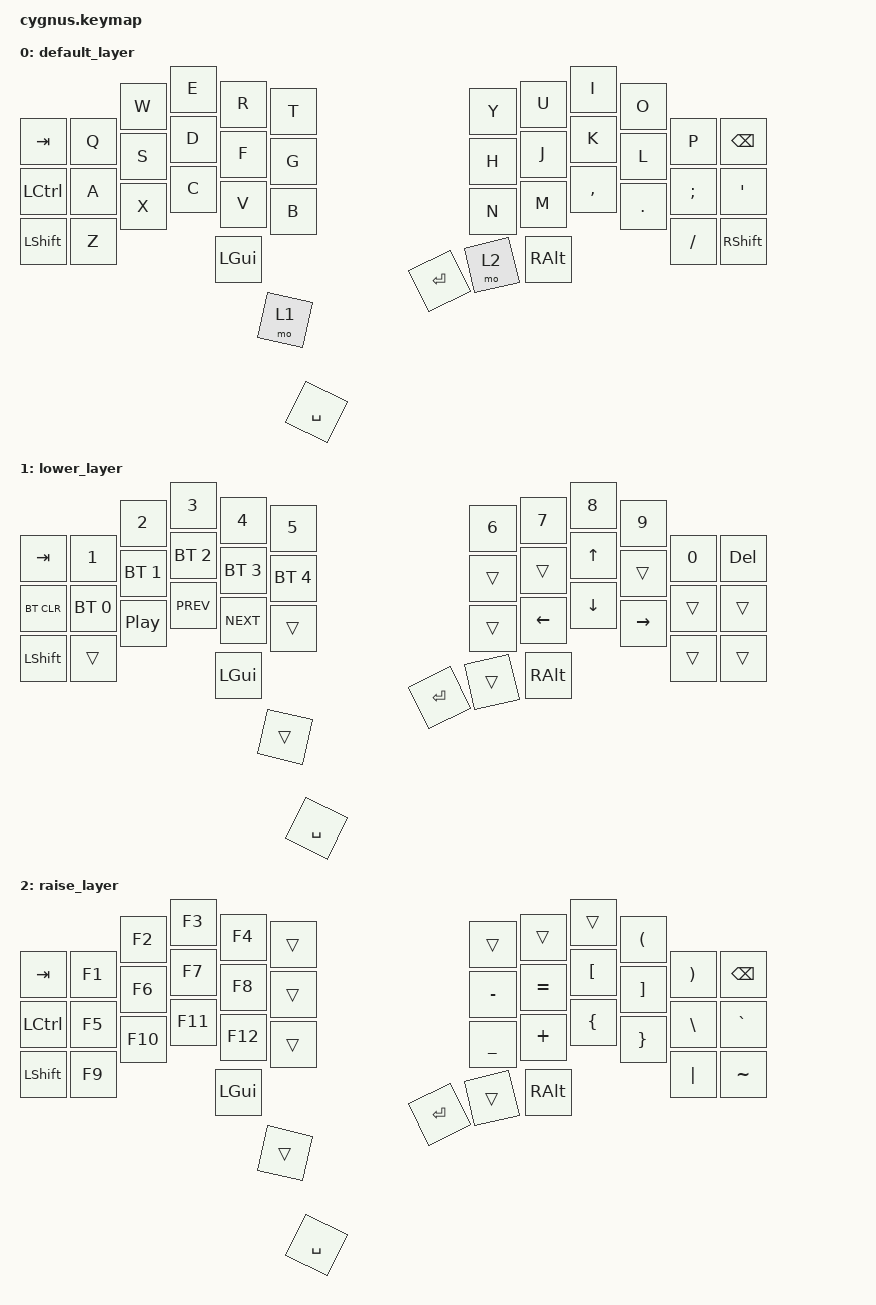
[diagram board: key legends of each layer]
#include <behaviors.dtsi>
#include <dt-bindings/zmk/bt.h>
#include <dt-bindings/zmk/keys.h>

/ {
    combos {
        compatible = "zmk,combos";

        combo_esc {
            bindings = <&kp ESCAPE>;
            key-positions = <1 2>;
        };

        combo_del {
            bindings = <&kp DELETE>;
            key-positions = <10 11>;
        };
    };

    keymap {
        compatible = "zmk,keymap";

        default_layer {
            // -----------------------------------------------------------------------------------------
            // |  TAB |  Q  |  W  |  E  |  R  |  T  |   |  Y  |  U   |  I  |  O  |  P  | BKSP |
            // | CTRL |  A  |  S  |  D  |  F  |  G  |   |  H  |  J   |  K  |  L  |  ;  |  '   |
            // | SHFT |  Z  |  X  |  C  |  V  |  B  |   |  N  |  M   |  ,  |  .  |  /  | ESC  |
            //                    | GUI | LWR | SPC |   | ENT | RSE  | ALT |

            bindings = <
&kp TAB    &kp Q  &kp W  &kp E     &kp R  &kp T      &kp Y    &kp U  &kp I      &kp O    &kp P     &kp BSPC
&kp LCTRL  &kp A  &kp S  &kp D     &kp F  &kp G      &kp H    &kp J  &kp K      &kp L    &kp SEMI  &kp SQT
&kp LSHFT  &kp Z  &kp X  &kp C     &kp V  &kp B      &kp N    &kp M  &kp COMMA  &kp DOT  &kp FSLH  &kp RSHIFT
                         &kp LGUI  &mo 1  &kp SPACE  &kp RET  &mo 2  &kp RALT
            >;
        };

        lower_layer {
            // -----------------------------------------------------------------------------------------
            // |  TAB |  1  |  2  |  3  |  4  |  5  |   |  6  |  7  |  8  |  9  |  0  | BKSP |
            // | BTCLR| BT1 | BT2 | BT3 | BT4 | BT5 |   | LFT | DWN |  UP | RGT |     |      |
            // | SHFT |     |     |     |     |     |   |     |     |     |     |     |      |
            //                    | GUI |     | SPC |   | ENT |     | ALT |

            bindings = <
&kp TAB     &kp N1        &kp N2            &kp N3        &kp N4        &kp N5        &kp N6   &kp N7    &kp N8    &kp N9     &kp N0  &kp DEL
&bt BT_CLR  &bt BT_SEL 0  &bt BT_SEL 1      &bt BT_SEL 2  &bt BT_SEL 3  &bt BT_SEL 4  &trans   &trans    &kp UP    &trans     &trans  &trans
&kp LSHFT   &trans        &kp C_PLAY_PAUSE  &kp C_PREV    &kp C_NEXT    &trans        &trans   &kp LEFT  &kp DOWN  &kp RIGHT  &trans  &trans
                                            &kp LGUI      &trans        &kp SPACE     &kp RET  &trans    &kp RALT
            >;
        };

        raise_layer {
            // -----------------------------------------------------------------------------------------
            // |  TAB |  !  |  @  |  #  |  $  |  %  |   |  ^  |  &  |  *  |  (  |  )  | BKSP |
            // | CTRL |     |     |     |     |     |   |  -  |  =  |  [  |  ]  |  \  |  `   |
            // | SHFT |     |     |     |     |     |   |  _  |  +  |  {  |  }  | "|" |  ~   |
            //                    | GUI |     | SPC |   | ENT |     | ALT |

            bindings = <
&kp TAB    &kp F1  &kp F2   &kp F3    &kp F4   &trans     &trans     &trans     &trans    &kp LPAR  &kp RPAR  &kp BSPC
&kp LCTRL  &kp F5  &kp F6   &kp F7    &kp F8   &trans     &kp MINUS  &kp EQUAL  &kp LBKT  &kp RBKT  &kp BSLH  &kp GRAVE
&kp LSHFT  &kp F9  &kp F10  &kp F11   &kp F12  &trans     &kp UNDER  &kp PLUS   &kp LBRC  &kp RBRC  &kp PIPE  &kp TILDE
                            &kp LGUI  &trans   &kp SPACE  &kp RET    &trans     &kp RALT
            >;
        };
    };
};
